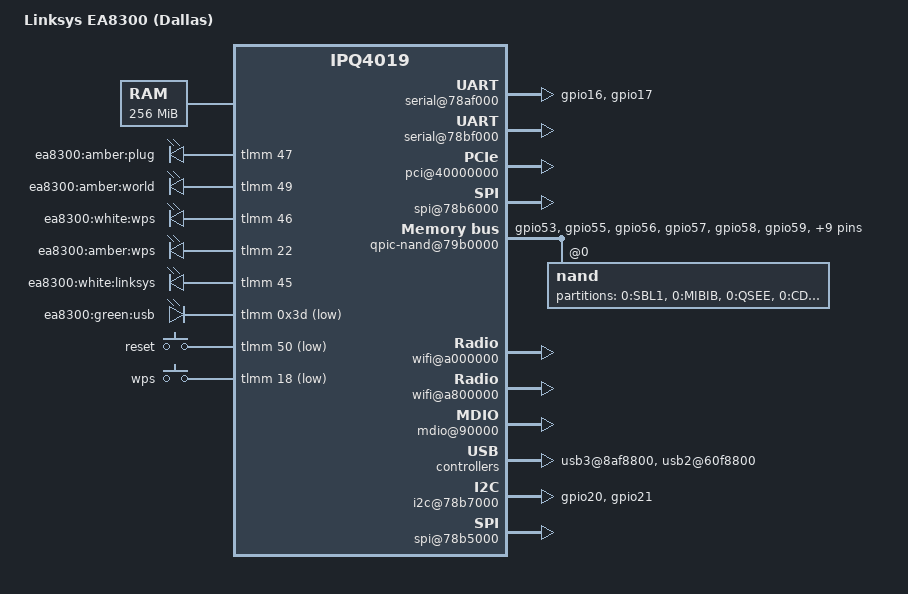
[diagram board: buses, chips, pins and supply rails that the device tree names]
// SPDX-License-Identifier: GPL-2.0-or-later OR MIT

/*
 * Device Tree Source for Linksys EA8300 (Dallas)
 *
 * Copyright (C) 2019 Jeff Kletsky
 *
 */

/dts-v1/;

#include "qcom-ipq4019.dtsi"
#include <dt-bindings/gpio/gpio.h>
#include <dt-bindings/input/input.h>
#include <dt-bindings/soc/qcom,tcsr.h>

/ {
	model = "Linksys EA8300 (Dallas)";
	compatible = "linksys,ea8300", "qcom,ipq4019";

	aliases {
		led-boot = &led_wps_amber;
		led-failsafe = &led_wps;
		led-running = &led_linksys;
		led-upgrade = &led_world;
		serial0 = &blsp1_uart1;
		//serial1 = &blsp1_uart2;	// not in qcom-ipq4019.dtsi
		serial1 = "/soc/serial@78bf000";
	};

	memory {
		device_type = "memory";
		reg = <0x80000000 0x10000000>;
	};

	//
	// OEM U-Boot provides either
	// init=/sbin/init rootfstype=ubifs ubi.mtd=11,2048 \
	//                 root=ubi0:ubifs rootwait rw
	// or the same with ubi.mtd=13,2048
	//
	
	chosen {
		// stdout-path = "serial0:115200n8";    // set in dk07.1.dtsi
		bootargs-append = " clk_ignore_unused";
	};

	soc {
		leds {
			compatible = "gpio-leds";

			// Retain node names from running OEM on EA8300

			// Front panel LEDs, top to bottom

			led_plug: diag {
				label = "ea8300:amber:plug";
				gpios = <&tlmm 47 GPIO_ACTIVE_HIGH>;
			};

			led_world: internet {
				label = "ea8300:amber:world";
				gpios = <&tlmm 49 GPIO_ACTIVE_HIGH>;
			};

			led_wps: wps {
				label = "ea8300:white:wps";
				gpios = <&tlmm 46 GPIO_ACTIVE_HIGH>;
			};

			led_wps_amber: wps_amber {
				label = "ea8300:amber:wps";
				gpios = <&tlmm 22 GPIO_ACTIVE_HIGH>;
				panic-indicator;
			};              
      
			led_linksys: pwr {
				label = "ea8300:white:linksys";
				gpios = <&tlmm 45 GPIO_ACTIVE_HIGH>;
			};

			// On back panel, above USB socket

			led_usb: usb {
				label = "ea8300:green:usb";
				gpios = <&tlmm 0x3d GPIO_ACTIVE_LOW>;
			};
		};

		gpio_keys {
			compatible = "gpio-keys";

			button@0 {
				label = "reset";
				linux,code = <KEY_RESTART>;
				linux,input-type = <0x1>;
				gpios = <&tlmm 50 GPIO_ACTIVE_LOW>;
			};

			button@1 {
				label = "wps";
				linux,code = <KEY_WPS_BUTTON>;
				linux,input-type = <0x1>;
				gpios = <&tlmm 18 GPIO_ACTIVE_LOW>;
			};
		};

		// Enabled and extended in dk07.1.dtsi
		serial@78af000 {		// blsp1_uart1
			status = "okay";
			pinctrl-0 = <&serial_0_pins>;
			pinctrl-names = "default";

		};

		// Likely not needed
		serial@78bf000 {
			status = "okay";
		};

		// Enabled in dk07.1-c1.dts
		pci@40000000 {			// pcie0
			status = "okay";

			perst-gpio = <&tlmm 38 GPIO_ACTIVE_LOW>;
			wake-gpio = <&tlmm 50 GPIO_ACTIVE_LOW>;
		};

		// Enabled in dk07.1-c1.dts
		spi@78b6000 {			// blsp1_spi2
			status = "okay";
		};

		// OEM has nand @7980000, not @79b0000
		// OEM is also "on" qcom,msm-nand

		// Enabled in dk07.1.dtsi
		qpic-nand@79b0000 {		// nand
			status = "okay";

			// reg			defined in qcom-ipq4019.dts
			// clocks		defined in qcom-ipq4019.dts
			// clock-names		defined in qcom-ipq4019.dts

			// dmas			defined in qcom-ipq4019.dts
			// dma-names		defined in qcom-ipq4019.dts
			// #address-cells	defined in qcom-ipq4019.dts
			// #size-cells		defined in qcom-ipq4019.dts

			// nand@0		defined in qcom-ipq4019.dts

			pinctrl-0 = <&nand_pins>;    // dk07.1.dtsi
			pinctrl-names = "default";   // dk07.1.dtsi

			//
			// Partition names not yet OpenWrt-ified
			//

			nand@0 {

				partitions {
					compatible = "fixed-partitions";
					#address-cells = <1>;
					#size-cells = <1>;

					partition@0 {		// OEM: 0:SBL1
						label = "0:SBL1";
						reg = <0x0 0x100000>;
					};

					partition@100000 {	// OEM: 0:MIBIB
						label = "0:MIBIB";
						reg = <0x100000 0x100000>;
					};

					partition@200000 {	// OEM: 0:QSEE
						label = "0:QSEE";
						reg = <0x200000 0x100000>;
					};

					partition@300000 {	// OEM: 0:CDT
						label = "0:CDT";
						reg = <0x300000 0x80000>;
					};

					partition@380000 {	// OEM: 0:APPSBLENV
						label = "0:APPSBLENV";
						reg = <0x380000 0x80000>;
					};

					partition@400000 {	// OEM: 0:ART
						label = "0:ART";
						reg = <0x400000 0x80000>;
					};

					partition@480000 {	// OEM: 0:APPSBL
						label = "0:APPSBL";
						reg = <0x480000 0x200000>;
					};

					partition@680000 {	// OEM: u_env
						label = "u_env";
						reg = <0x680000 0x80000>;
					};

					partition@700000 {	// OEM: s_env
						label = "s_env";
						reg = <0x700000 0x40000>;
					};

					partition@740000 {	// OEM: devinfo
						label = "devinfo";
						reg = <0x740000 0x40000>;
					};

					partition@780000 {	// OEM: kernel
						label = "kernel";
						reg = <0x780000 0x5800000>;
					};

					partition@a80000 {	// OEM: rootfs
						label = "rootfs";
						reg = <0xa80000 0x5500000>;
					};

					partition@5f80000 {	// OEM: alt_kernel
						label = "alt_kernel";
						reg = <0x5f80000 0x5800000>;
					};

					partition@6280000 {	// OEM: alt_rootfs
						label = "alt_rootfs";
						reg = <0x6280000 0x5500000>;
					};

					partition@b780000 {	// OEM: sysdiag
						label = "sysdiag";
						reg = <0xb780000 0x100000>;
					};

					partition@b880000 {	// OEM: syscfg
						label = "syscfg";
						reg = <0xb880000 0x4680000>;
					};
				};
			};
		};

		edma@c080000 {
			status = "okay";
		};

		wifi@a000000 {			// wifi0
			status = "okay";

			// Following from OEM /proc/device-tree

			// qca,msi_addr = <0xb006040>;
			// qca,msi_base = <0x40>;
			// wifi-led-gpios = <0x50 0x20 0x1>;
			// wifi-rssi-gpios = <0x50 0x24 0x1>;
			// qcom,mtd-name = "0:ART";
			// qcom,cal-offset = <0x1000>;
			// qcom,cal-len = <0x2f20>;
			// pinctrl-0 = <0x51>;
			// pinctrl-names = "default";
			// btcoex_support = <0x1>;
			// wlan_prio_gpio = <0x34>;
		};

		wifi@a800000 {			// wifi1
			status = "okay";

			// Following from OEM /proc/device-tree
			
			// qca,msi_addr = <0xb006040>;
			// qca,msi_base = <0x50>;
			// wifi-rssi-gpios = <0x50 0x27 0x1>;
			// qcom,mtd-name = "0:ART";
			// qcom,cal-offset = <0x5000>;
			// qcom,cal-len = <0x2f20>;
			// btcoex_support = <0x0>;
		};

		mdio@90000 {
			status = "okay";
		};

		ess-switch@c000000 {
			status = "okay";
		};
		
		ess-psgmii@98000 {
			status = "okay";
		};

		tcsr@1949000 {
			compatible = "qcom,tcsr";
			reg = <0x1949000 0x100>;
			qcom,wifi_glb_cfg = <TCSR_WIFI_GLB_CFG>;
		};

		tcsr@194b000 {
			compatible = "qcom,tcsr";
			reg = <0x194b000 0x100>;
			qcom,usb-hsphy-mode-select = <TCSR_USB_HSPHY_HOST_MODE>;
		};

		ess_tcsr@1953000 {
			compatible = "qcom,tcsr";
			reg = <0x1953000 0x1000>;
			qcom,ess-interface-select = <TCSR_ESS_PSGMII>;
		};

		tcsr@1957000 {
			compatible = "qcom,tcsr";
			reg = <0x1957000 0x100>;
			qcom,wifi_noc_memtype_m0_m2 = <TCSR_WIFI_NOC_MEMTYPE_M0_M2>;
		};

		ssphy@9a000 {			// usb3_ss_phy
			status = "okay";
		};

		hsphy@a6000 {			// usb3_hs_phy
			status = "okay";
		};

		usb3@8af8800 {
			status = "okay";
		};

		hsphy@a8000 {			// usb2_hs_phy
			status = "okay";
		};

		usb2@60f8800 {
			status = "okay";
		};

		// Enabled in dk07.1.dtsi
		dma@7984000 {			// qpic_bam
			status = "okay";
		};

		// Enabled in dk07.1.dtsi
		dma@7884000 {			// blsp_dma
			status = "okay";
		};

		// Enabled and extended in dk07.1.dtsi
		// with comment "BLSP1 QUP2"
		// Comment seems incongruous with node label
		i2c@78b7000 {			// blsp1_i2c3
			status = "ok";
			pinctrl-0 = <&i2c_0_pins>;
			pinctrl-names = "default";
		};


		pinctrl@1000000 {

			// From dk07.1.dsti
			serial_0_pins: serial0-pinmux {
				pins = "gpio16", "gpio17";
				function = "blsp_uart0";
				bias-disable;
			};

			// From dk07.1.dsti
			i2c_0_pins: i2c-0-pinmux {
				pins = "gpio20", "gpio21";
				function = "blsp_i2c0";
				bias-disable;
			};

			// From dk07.1.dtsi
			nand_pins: nand-pins {
				pins = "gpio53", "gpio55", "gpio56",
				       "gpio57", "gpio58", "gpio59",
				       "gpio60", "gpio62", "gpio63",
				       "gpio64", "gpio65", "gpio66",
				       "gpio67", "gpio68", "gpio69";
				function = "qpic";
                        };
		};

		// Enabled in dk07.1-c1.dts
		spi@78b5000 {			// for m25p80 ?
			status = "okay";
		};

		rng@22000 {
			status = "okay";
		};

		dma@8e04000 {			// cryptobam
			status = "okay";
		};

		crypto@8e3a000 {
			status = "okay";
		};

		watchdog@b017000 {
			status = "okay";
		};

		//
		// Enabled in qcom-ipq4019-ap.dk07.1.dtsi
		// but not yet here
		//
		// i2c@78b7000 -- just added
		//

		//
		// Enabled in qcom-ipq4019-ap.dk07.1-c1.dts
		// but not yet here
		//
		// serial@78b0000
		// spi@78b5000
		//

		//
		// Enabled in OEM, but not yet here
		// rng@22000
		// 
	};
};
